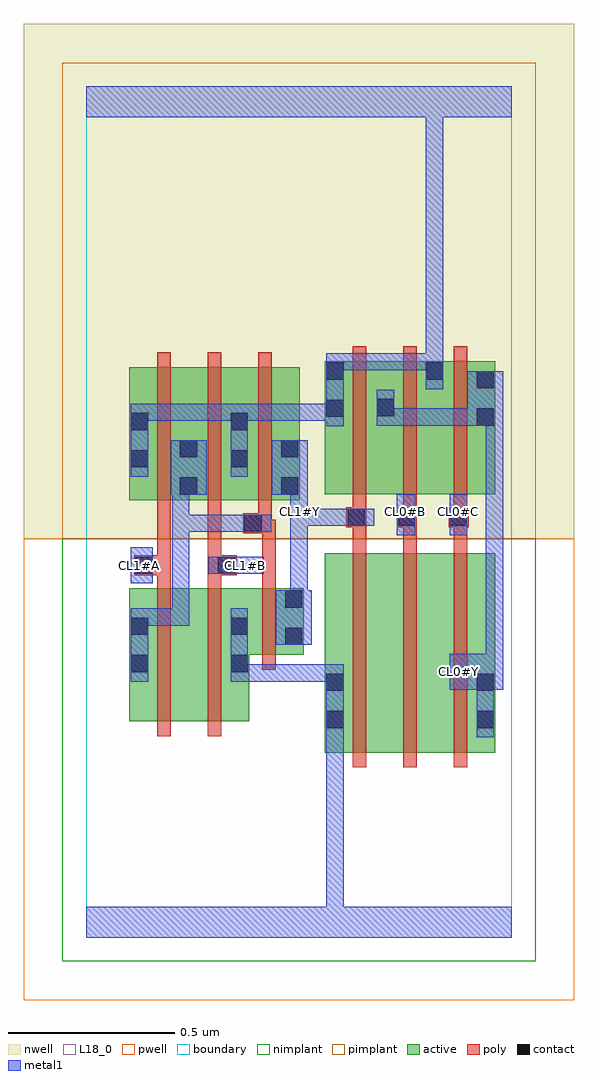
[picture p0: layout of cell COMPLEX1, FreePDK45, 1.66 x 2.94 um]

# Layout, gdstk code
import gdstk
lib = gdstk.Library(unit=1e-6, precision=1e-09)
def R(c, l, rs):  # rectangles x0, y0, x1, y1
    for r in rs: c.add(gdstk.rectangle(r[:2], r[2:], *l))
def A(c, l, x, y, w, h, nx, ny, dx, dy):  # array of equal rectangles
    R(c, l, [(x+i*dx, y+j*dy, x+i*dx+w, y+j*dy+h) for i in range(nx) for j in range(ny)])
active = (1, 0)
pwell = (2, 0)
nwell = (3, 0)
nimplant = (4, 0)
pimplant = (5, 0)
poly = (9, 0)
contact = (10, 0)
metal1 = (11, 0)
L18_0 = (18, 0)
boundary = (235, 0)

complex1 = lib.new_cell('COMPLEX1')
A(complex1, active, 0.278, 1.316, 0.06, 0.328, 3, 1, 0.152, 0)
R(complex1, active, [(0.718,0.556,0.778,1.156), (0.718,0.556,0.898,1.156), (0.898,0.556,1.05,1.156), (1.05,0.556,1.23,1.156), (1.17,0.556,1.23,1.156), (0.13,0.65,0.31,1.05), (0.31,0.65,0.49,1.05), (0.43,0.65,0.49,1.05), (0.13,0.756,0.19,1.05), (0.43,0.85,0.654,1.05), (0.594,0.85,0.654,1.05), (0.13,1.316,0.338,1.716), (0.13,1.316,0.19,1.644), (0.278,1.316,0.49,1.716), (0.43,1.316,0.642,1.716), (0.718,1.334,0.778,1.734), (0.718,1.334,0.93,1.734), (0.87,1.334,1.078,1.734), (1.018,1.334,1.23,1.734), (1.17,1.334,1.23,1.734), (1.018,1.546,1.078,1.734), (0.87,1.564,0.93,1.644)])
R(complex1, pwell, [(-0.188,-0.188,1.468,1.2)])
R(complex1, nwell, [(-0.188,1.2,1.468,2.748)])
R(complex1, nimplant, [(-0.072,-0.072,1.352,1.2)])
R(complex1, pimplant, [(-0.072,1.2,1.352,2.632)])
A(complex1, poly, 0.802, 0.512, 0.04, 0.688, 3, 1, 0.152, 0)
A(complex1, poly, 0.802, 1.16, 0.04, 0.114, 3, 1, 0.152, 0)
A(complex1, poly, 0.802, 1.254, 0.04, 0.076, 3, 1, 0.152, 0)
A(complex1, poly, 0.214, 1.272, 0.04, 0.488, 3, 1, 0.152, 0)
A(complex1, poly, 0.802, 1.29, 0.04, 0.488, 3, 1, 0.152, 0)
R(complex1, poly, [(0.214,0.606,0.254,1.094), (0.366,0.606,0.406,1.094), (0.53,0.806,0.57,1.094), (0.214,1.054,0.254,1.13), (0.366,1.054,0.406,1.13), (0.53,1.054,0.57,1.256), (0.144,1.09,0.254,1.15), (0.214,1.09,0.254,1.13), (0.214,1.09,0.254,1.13), (0.366,1.09,0.452,1.15), (0.214,1.11,0.254,1.312), (0.366,1.11,0.406,1.15), (0.366,1.11,0.406,1.15), (0.366,1.11,0.406,1.312), (0.472,1.216,0.558,1.276), (0.518,1.216,0.558,1.256), (0.518,1.216,0.57,1.256), (0.782,1.234,0.842,1.294), (0.934,1.234,0.994,1.294), (1.09,1.234,1.15,1.294), (1.106,1.234,1.146,1.274), (1.106,1.234,1.146,1.274), (0.518,1.236,0.558,1.312), (0.802,1.254,0.842,1.294), (0.802,1.254,0.842,1.294), (0.954,1.254,0.994,1.294), (0.954,1.254,0.994,1.294)])
R(complex1, contact, [(0.722,0.63,0.774,0.682), (1.174,0.63,1.226,0.682), (0.722,0.742,0.774,0.794), (1.174,0.742,1.226,0.794), (0.134,0.798,0.186,0.85), (0.434,0.798,0.486,0.85), (0.598,0.88,0.65,0.932), (0.134,0.91,0.186,0.962), (0.434,0.91,0.486,0.962), (0.598,0.992,0.65,1.044), (0.148,1.094,0.2,1.146), (0.396,1.094,0.448,1.146), (0.476,1.22,0.528,1.272), (0.786,1.238,0.838,1.29), (0.938,1.238,0.99,1.29), (1.094,1.238,1.146,1.29), (0.282,1.332,0.334,1.384), (0.586,1.332,0.638,1.384), (0.134,1.414,0.186,1.466), (0.434,1.414,0.486,1.466), (0.282,1.444,0.334,1.496), (0.586,1.444,0.638,1.496), (0.134,1.526,0.186,1.578), (0.434,1.526,0.486,1.578), (1.174,1.54,1.226,1.592), (0.722,1.566,0.774,1.618), (0.874,1.568,0.926,1.62), (1.174,1.652,1.226,1.704), (0.722,1.678,0.774,1.73), (1.022,1.678,1.074,1.73)])
R(complex1, metal1, [(0,0,1.28,0.092), (0.722,0.04,0.774,0.092), (0.722,0.04,0.774,0.092), (0.722,0.04,0.774,0.092), (0.722,0.04,0.774,0.092), (0.722,0.04,0.774,0.092), (0.722,0.04,0.774,0.092), (0.722,0.04,0.774,0.092), (0.722,0.04,0.774,0.092), (0.722,0.04,0.774,0.654), (0.722,0.602,0.774,0.822), (1.174,0.602,1.226,0.822), (1.094,0.746,1.254,0.854), (0.134,0.77,0.186,0.99), (0.434,0.77,0.486,0.822), (0.434,0.77,0.486,0.822), (0.434,0.77,0.486,0.99), (0.434,0.77,0.61,0.822), (0.558,0.77,0.61,0.822), (0.558,0.77,0.61,0.822), (0.558,0.77,0.61,0.822), (0.558,0.77,0.61,0.822), (0.558,0.77,0.61,0.822), (0.558,0.77,0.774,0.822), (1.174,0.77,1.226,0.822), (1.202,0.802,1.254,1.592), (0.57,0.88,0.678,1.044), (0.134,0.938,0.186,0.99), (0.134,0.938,0.186,0.99), (0.134,0.938,0.186,0.99), (0.134,0.938,0.186,0.99), (0.134,0.938,0.31,0.99), (0.258,0.938,0.31,0.99), (0.258,0.938,0.31,1.272), (0.614,0.992,0.666,1.278), (0.134,1.066,0.2,1.174), (0.368,1.094,0.534,1.146), (0.934,1.21,0.99,1.334), (1.094,1.21,1.146,1.334), (0.258,1.22,0.31,1.272), (0.258,1.22,0.31,1.272), (0.258,1.22,0.31,1.272), (0.258,1.22,0.5,1.272), (0.258,1.22,0.31,1.384), (0.448,1.22,0.5,1.272), (0.448,1.22,0.5,1.272), (0.448,1.22,0.556,1.272), (0.614,1.226,0.666,1.334), (0.614,1.238,0.81,1.29), (0.758,1.238,0.81,1.29), (0.758,1.238,0.81,1.29), (0.758,1.238,0.866,1.29), (0.614,1.282,0.666,1.384), (0.254,1.332,0.362,1.496), (0.558,1.332,0.666,1.496), (0.614,1.332,0.666,1.384), (0.614,1.332,0.666,1.384), (0.134,1.386,0.186,1.606), (0.434,1.386,0.486,1.606), (0.722,1.538,0.774,1.758), (0.874,1.54,0.926,1.592), (0.874,1.54,0.926,1.592), (0.874,1.54,0.926,1.648), (0.874,1.54,1.036,1.592), (0.984,1.54,1.036,1.592), (0.984,1.54,1.198,1.592), (1.146,1.54,1.198,1.592), (1.146,1.54,1.198,1.592), (1.146,1.54,1.254,1.704), (1.202,1.54,1.254,1.592), (1.202,1.54,1.254,1.592), (0.134,1.554,0.186,1.606), (0.134,1.554,0.186,1.606), (0.134,1.554,0.376,1.606), (0.324,1.554,0.376,1.606), (0.324,1.554,0.376,1.606), (0.324,1.554,0.376,1.606), (0.324,1.554,0.486,1.606), (0.434,1.554,0.61,1.606), (0.558,1.554,0.61,1.606), (0.558,1.554,0.61,1.606), (0.558,1.554,0.61,1.606), (0.558,1.554,0.774,1.606), (1.022,1.65,1.074,1.758), (0.722,1.706,0.81,1.758), (0.758,1.706,0.81,1.758), (0.758,1.706,0.92,1.758), (0.868,1.706,0.92,1.758), (0.868,1.706,0.92,1.758), (0.868,1.706,0.92,1.758), (0.868,1.706,1.074,1.758), (1.022,1.706,1.074,2.52), (0,2.468,1.28,2.56), (1.022,2.468,1.074,2.52), (1.022,2.468,1.074,2.52), (1.022,2.468,1.074,2.52), (1.022,2.468,1.074,2.52), (1.022,2.468,1.074,2.52), (1.022,2.468,1.074,2.52), (1.022,2.468,1.074,2.52), (1.022,2.468,1.074,2.52), (1.022,2.468,1.074,2.52), (1.022,2.468,1.074,2.52), (1.022,2.468,1.074,2.52), (1.022,2.468,1.074,2.52), (1.022,2.468,1.074,2.52), (1.022,2.468,1.074,2.52), (1.022,2.468,1.074,2.52), (1.022,2.468,1.074,2.52)])
R(complex1, L18_0, [(0,0,1.28,0.092), (0.722,0.04,0.774,0.092), (0.722,0.04,0.774,0.092), (0.722,0.04,0.774,0.092), (0.722,0.04,0.774,0.092), (0.722,0.04,0.774,0.092), (0.722,0.04,0.774,0.092), (0.722,0.04,0.774,0.092), (0.722,0.04,0.774,0.092), (0.722,0.04,0.774,0.654), (0.722,0.602,0.774,0.822), (1.174,0.602,1.226,0.822), (1.094,0.746,1.254,0.854), (0.434,0.77,0.486,0.99), (0.434,0.77,0.486,0.822), (0.434,0.77,0.486,0.822), (0.434,0.77,0.61,0.822), (0.558,0.77,0.61,0.822), (0.558,0.77,0.61,0.822), (0.558,0.77,0.61,0.822), (0.558,0.77,0.61,0.822), (0.558,0.77,0.61,0.822), (0.558,0.77,0.774,0.822), (1.174,0.77,1.226,0.822), (1.094,0.774,1.146,0.826), (1.202,0.802,1.254,1.592), (0.57,0.88,0.678,1.044), (0.614,0.992,0.666,1.278), (0.134,1.066,0.2,1.174), (0.134,1.094,0.186,1.146), (0.368,1.094,0.534,1.146), (0.454,1.094,0.506,1.146), (0.934,1.21,0.99,1.334), (1.094,1.21,1.146,1.334), (0.614,1.226,0.666,1.334), (0.614,1.238,0.81,1.29), (0.758,1.238,0.81,1.29), (0.758,1.238,0.81,1.29), (0.758,1.238,0.866,1.29), (0.614,1.254,0.666,1.306), (0.934,1.254,0.986,1.306), (1.094,1.254,1.146,1.306), (0.614,1.282,0.666,1.384), (0.558,1.332,0.666,1.496), (0.614,1.332,0.666,1.384), (0.614,1.332,0.666,1.384), (0.134,1.386,0.186,1.606), (0.434,1.386,0.486,1.606), (0.722,1.538,0.774,1.758), (0.874,1.54,0.926,1.592), (0.874,1.54,0.926,1.592), (0.874,1.54,1.036,1.592), (0.874,1.54,0.926,1.648), (0.984,1.54,1.036,1.592), (0.984,1.54,1.198,1.592), (1.146,1.54,1.198,1.592), (1.146,1.54,1.198,1.592), (1.146,1.54,1.254,1.704), (1.202,1.54,1.254,1.592), (1.202,1.54,1.254,1.592), (0.134,1.554,0.186,1.606), (0.134,1.554,0.186,1.606), (0.134,1.554,0.376,1.606), (0.324,1.554,0.376,1.606), (0.324,1.554,0.376,1.606), (0.324,1.554,0.376,1.606), (0.324,1.554,0.486,1.606), (0.434,1.554,0.61,1.606), (0.558,1.554,0.61,1.606), (0.558,1.554,0.61,1.606), (0.558,1.554,0.61,1.606), (0.558,1.554,0.774,1.606), (1.022,1.65,1.074,1.758), (0.722,1.706,0.81,1.758), (0.758,1.706,0.81,1.758), (0.758,1.706,0.92,1.758), (0.868,1.706,0.92,1.758), (0.868,1.706,0.92,1.758), (0.868,1.706,0.92,1.758), (0.868,1.706,1.074,1.758), (1.022,1.706,1.074,2.52), (0,2.468,1.28,2.56), (1.022,2.468,1.074,2.52), (1.022,2.468,1.074,2.52), (1.022,2.468,1.074,2.52), (1.022,2.468,1.074,2.52), (1.022,2.468,1.074,2.52), (1.022,2.468,1.074,2.52), (1.022,2.468,1.074,2.52), (1.022,2.468,1.074,2.52), (1.022,2.468,1.074,2.52), (1.022,2.468,1.074,2.52), (1.022,2.468,1.074,2.52), (1.022,2.468,1.074,2.52), (1.022,2.468,1.074,2.52), (1.022,2.468,1.074,2.52), (1.022,2.468,1.074,2.52), (1.022,2.468,1.074,2.52)])
R(complex1, boundary, [(0,0,1.28,2.56)])
complex1.add(gdstk.Label('CL0#B', (0.96,1.28), layer=11, texttype=0))
complex1.add(gdstk.Label('CL0#C', (1.12,1.28), layer=11, texttype=0))
complex1.add(gdstk.Label('CL0#Y', (1.12,0.8), layer=11, texttype=0))
complex1.add(gdstk.Label('CL1#A', (0.16,1.12), layer=11, texttype=0))
complex1.add(gdstk.Label('CL1#B', (0.48,1.12), layer=11, texttype=0))
complex1.add(gdstk.Label('CL1#Y', (0.64,1.28), layer=11, texttype=0))

lib.write_gds('COMPLEX1.gds')
